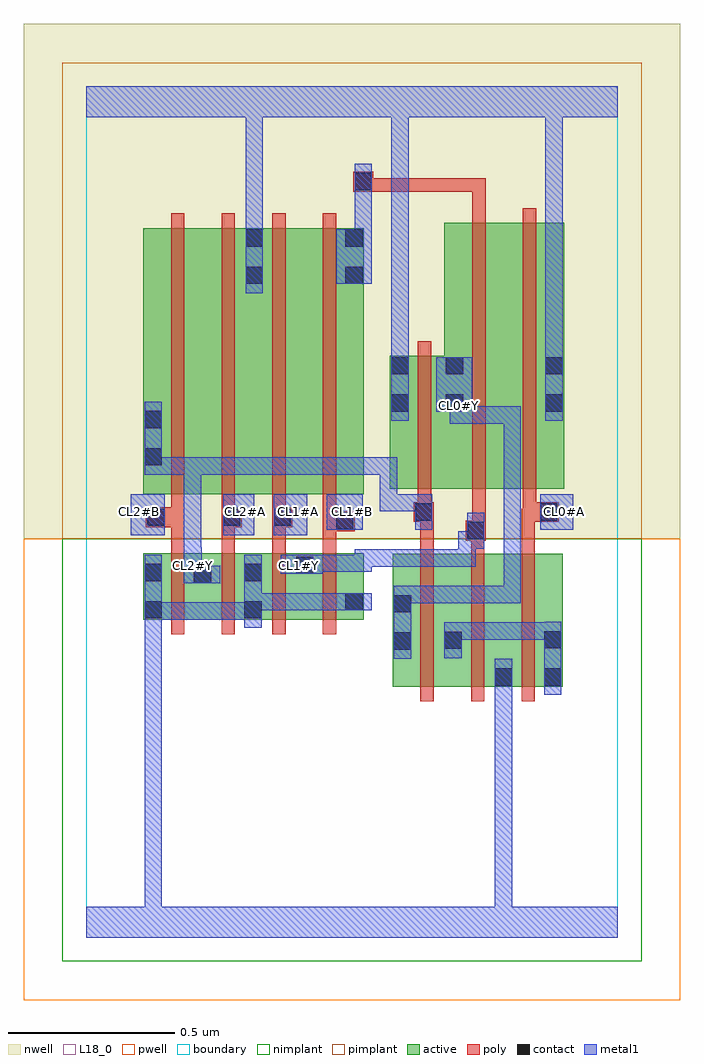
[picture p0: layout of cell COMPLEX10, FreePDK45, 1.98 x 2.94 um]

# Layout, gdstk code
import gdstk
lib = gdstk.Library(unit=1e-6, precision=1e-09)
def R(c, l, rs):  # rectangles x0, y0, x1, y1
    for r in rs: c.add(gdstk.rectangle(r[:2], r[2:], *l))
def A(c, l, x, y, w, h, nx, ny, dx, dy):  # array of equal rectangles
    R(c, l, [(x+i*dx, y+j*dy, x+i*dx+w, y+j*dy+h) for i in range(nx) for j in range(ny)])
active = (1, 0)
pwell = (2, 0)
nwell = (3, 0)
nimplant = (4, 0)
pimplant = (5, 0)
poly = (9, 0)
contact = (10, 0)
metal1 = (11, 0)
L18_0 = (18, 0)
boundary = (235, 0)

complex10 = lib.new_cell('COMPLEX10')
R(complex10, active, [(0.922,0.754,1.134,1.154), (1.074,0.754,1.286,1.154), (1.074,0.754,1.134,0.928), (1.226,0.754,1.434,1.154), (1.226,0.754,1.286,0.922), (1.374,0.754,1.434,1.154), (0.922,0.756,0.982,1.154), (0.172,0.956,0.232,1.156), (0.172,0.956,0.38,1.156), (0.32,0.956,0.532,1.156), (0.32,0.956,0.38,1.122), (0.472,0.956,0.532,1.156), (0.472,0.956,0.688,1.156), (0.628,0.956,0.836,1.156), (0.628,0.956,0.688,1.15), (0.776,0.956,0.836,1.156), (0.172,1.334,0.352,2.134), (0.172,1.334,0.232,2.044), (0.352,1.334,0.536,2.134), (0.476,1.334,0.656,2.134), (0.656,1.334,0.836,2.134), (0.776,1.334,0.836,2.134), (0.914,1.35,0.974,1.75), (0.914,1.35,1.138,1.75), (1.078,1.35,1.258,2.15), (1.078,1.35,1.138,1.77), (1.258,1.35,1.438,2.15), (1.378,1.35,1.438,2.15), (0.476,1.686,0.536,2.134)])
R(complex10, pwell, [(-0.188,-0.188,1.788,1.2)])
R(complex10, nwell, [(-0.188,1.2,1.788,2.748)])
R(complex10, nimplant, [(-0.072,-0.072,1.672,1.2)])
R(complex10, pimplant, [(-0.072,1.2,1.672,2.632)])
A(complex10, poly, 1.006, 0.71, 0.04, 0.488, 3, 1, 0.152, 0)
A(complex10, poly, 0.256, 0.912, 0.04, 0.288, 4, 1, 0.152, 0)
A(complex10, poly, 0.256, 1.16, 0.04, 0.114, 3, 1, 0.152, 0)
A(complex10, poly, 0.256, 1.254, 0.04, 0.076, 3, 1, 0.152, 0)
A(complex10, poly, 0.256, 1.29, 0.04, 0.888, 4, 1, 0.152, 0)
R(complex10, poly, [(1.006,1.158,1.046,1.29), (1.158,1.158,1.198,1.234), (1.31,1.158,1.35,1.29), (0.712,1.16,0.752,1.262), (1.142,1.194,1.202,1.254), (1.162,1.214,1.202,1.254), (1.162,1.214,1.202,1.254), (1.162,1.214,1.202,1.346), (0.712,1.222,0.752,1.262), (0.712,1.222,0.752,1.262), (0.712,1.222,0.808,1.282), (0.18,1.234,0.296,1.294), (0.408,1.234,0.468,1.294), (0.56,1.234,0.6,1.274), (0.56,1.234,0.6,1.274), (0.56,1.234,0.62,1.294), (0.712,1.242,0.752,1.33), (0.986,1.25,1.046,1.31), (1.006,1.25,1.046,1.29), (1.006,1.25,1.046,1.29), (1.31,1.25,1.354,1.29), (1.314,1.25,1.354,1.29), (1.314,1.25,1.422,1.31), (0.256,1.254,0.296,1.294), (0.256,1.254,0.296,1.294), (0.408,1.254,0.448,1.294), (0.408,1.254,0.448,1.294), (0.998,1.27,1.038,1.346), (1.314,1.27,1.354,1.346), (0.998,1.306,1.038,1.794), (1.162,1.306,1.202,2.194), (1.314,1.306,1.354,2.194), (1.162,2.154,1.202,2.284), (0.804,2.244,0.864,2.304), (0.824,2.244,0.864,2.284), (0.824,2.244,0.864,2.284), (0.824,2.244,0.97,2.284), (0.93,2.244,0.97,2.284), (0.93,2.244,0.97,2.284), (0.93,2.244,0.97,2.284), (0.93,2.244,1.202,2.284), (1.162,2.244,1.202,2.284), (1.162,2.244,1.202,2.284), (1.162,2.244,1.202,2.284)])
R(complex10, contact, [(1.23,0.758,1.282,0.81), (1.378,0.758,1.43,0.81), (0.926,0.866,0.978,0.918), (1.078,0.868,1.13,0.92), (1.378,0.87,1.43,0.922), (0.176,0.96,0.228,1.012), (0.476,0.96,0.528,1.012), (0.926,0.978,0.978,1.03), (0.78,0.984,0.832,1.036), (0.324,1.066,0.376,1.118), (0.176,1.072,0.228,1.124), (0.476,1.072,0.528,1.124), (0.632,1.094,0.684,1.146), (1.146,1.198,1.198,1.25), (0.752,1.226,0.804,1.278), (0.184,1.238,0.236,1.29), (0.412,1.238,0.464,1.29), (0.564,1.238,0.616,1.29), (0.99,1.254,1.042,1.306), (1.366,1.254,1.418,1.306), (0.176,1.42,0.228,1.472), (0.176,1.532,0.228,1.584), (0.918,1.582,0.97,1.634), (1.082,1.582,1.134,1.634), (1.382,1.582,1.434,1.634), (0.918,1.694,0.97,1.746), (1.082,1.694,1.134,1.746), (1.382,1.694,1.434,1.746), (0.48,1.966,0.532,2.018), (0.78,1.966,0.832,2.018), (0.48,2.078,0.532,2.13), (0.78,2.078,0.832,2.13), (0.808,2.248,0.86,2.3)])
R(complex10, metal1, [(0,0,1.6,0.092), (0.176,0.04,0.228,0.092), (0.176,0.04,0.228,0.092), (0.176,0.04,0.228,0.092), (0.176,0.04,0.228,0.092), (0.176,0.04,0.228,0.092), (0.176,0.04,0.228,0.092), (0.176,0.04,0.228,0.092), (0.176,0.04,0.228,0.092), (0.176,0.04,0.228,0.092), (0.176,0.04,0.228,0.092), (0.176,0.04,0.228,0.092), (0.176,0.04,0.228,0.092), (0.176,0.04,0.228,0.092), (0.176,0.04,0.228,0.092), (0.176,0.04,0.228,0.092), (0.176,0.04,0.228,0.092), (0.176,0.04,0.228,0.984), (1.23,0.04,1.282,0.092), (1.23,0.04,1.282,0.092), (1.23,0.04,1.282,0.092), (1.23,0.04,1.282,0.092), (1.23,0.04,1.282,0.092), (1.23,0.04,1.282,0.092), (1.23,0.04,1.282,0.092), (1.23,0.04,1.282,0.092), (1.23,0.04,1.282,0.092), (1.23,0.04,1.282,0.092), (1.23,0.04,1.282,0.092), (1.23,0.04,1.282,0.092), (1.23,0.04,1.282,0.782), (1.23,0.73,1.282,0.838), (1.378,0.73,1.43,0.95), (0.926,0.838,0.978,1.058), (1.078,0.84,1.13,0.948), (1.078,0.896,1.282,0.948), (1.23,0.896,1.282,0.948), (1.23,0.896,1.282,0.948), (1.23,0.896,1.282,0.948), (1.23,0.896,1.43,0.948), (1.378,0.896,1.43,0.948), (1.378,0.896,1.43,0.948), (0.176,0.932,0.228,1.152), (0.476,0.932,0.528,1.152), (0.176,0.956,0.228,1.008), (0.176,0.956,0.228,1.008), (0.176,0.956,0.418,1.008), (0.366,0.956,0.418,1.008), (0.366,0.956,0.418,1.008), (0.366,0.956,0.418,1.008), (0.366,0.956,0.528,1.008), (0.476,0.984,0.638,1.036), (0.586,0.984,0.638,1.036), (0.586,0.984,0.638,1.036), (0.586,0.984,0.638,1.036), (0.586,0.984,0.804,1.036), (0.752,0.984,0.804,1.036), (0.752,0.984,0.804,1.036), (0.752,0.984,0.86,1.036), (0.926,1.006,1.088,1.058), (1.036,1.006,1.088,1.058), (1.036,1.006,1.088,1.058), (1.036,1.006,1.088,1.058), (1.036,1.006,1.308,1.058), (1.256,1.006,1.308,1.058), (1.256,1.006,1.308,1.058), (1.256,1.006,1.308,1.058), (1.256,1.006,1.308,1.058), (1.256,1.006,1.308,1.058), (1.256,1.006,1.308,1.598), (0.294,1.066,0.348,1.174), (0.296,1.066,0.348,1.118), (0.296,1.066,0.404,1.118), (0.586,1.094,0.694,1.152), (0.604,1.094,0.712,1.146), (0.614,1.094,0.666,1.146), (0.642,1.1,0.86,1.152), (0.808,1.1,0.86,1.152), (0.808,1.1,0.86,1.152), (0.808,1.1,0.86,1.168), (0.808,1.116,0.978,1.168), (0.926,1.116,0.978,1.168), (0.926,1.116,1.048,1.168), (0.996,1.116,1.048,1.168), (0.996,1.116,1.172,1.168), (1.12,1.116,1.172,1.222), (0.294,1.122,0.346,1.174), (0.294,1.122,0.346,1.174), (0.294,1.122,0.346,1.444), (1.12,1.17,1.198,1.222), (1.146,1.17,1.198,1.278), (0.134,1.21,0.236,1.334), (0.412,1.21,0.506,1.334), (0.564,1.21,0.666,1.334), (0.724,1.226,0.832,1.334), (0.99,1.226,1.042,1.334), (1.366,1.226,1.466,1.334), (0.884,1.282,0.936,1.334), (0.884,1.282,0.978,1.334), (0.884,1.282,0.936,1.444), (0.926,1.282,0.978,1.334), (0.926,1.282,1.042,1.334), (0.176,1.392,0.228,1.444), (0.176,1.392,0.228,1.444), (0.176,1.392,0.228,1.612), (0.176,1.392,0.346,1.444), (0.294,1.392,0.346,1.444), (0.294,1.392,0.346,1.444), (0.294,1.392,0.346,1.444), (0.294,1.392,0.528,1.444), (0.476,1.392,0.528,1.444), (0.476,1.392,0.528,1.444), (0.476,1.392,0.528,1.444), (0.476,1.392,0.694,1.444), (0.642,1.392,0.694,1.444), (0.642,1.392,0.748,1.444), (0.696,1.392,0.748,1.444), (0.696,1.392,0.936,1.444), (0.884,1.392,0.936,1.444), (1.094,1.546,1.146,1.654), (1.094,1.546,1.308,1.598), (1.256,1.546,1.308,1.598), (1.256,1.546,1.308,1.598), (1.256,1.546,1.308,1.598), (0.918,1.554,0.97,1.774), (1.382,1.554,1.434,1.774), (1.054,1.582,1.162,1.746), (1.094,1.582,1.146,1.634), (0.918,1.722,0.97,1.774), (0.918,1.722,0.97,1.774), (0.918,1.722,0.97,1.774), (0.918,1.722,0.97,1.774), (0.918,1.722,0.97,1.774), (0.918,1.722,0.97,1.774), (0.918,1.722,0.97,2.52), (1.382,1.722,1.434,2.52), (0.48,1.938,0.532,2.158), (0.752,1.966,0.86,2.13), (0.808,2.078,0.86,2.272), (0.48,2.106,0.532,2.158), (0.48,2.106,0.532,2.158), (0.48,2.106,0.532,2.158), (0.48,2.106,0.532,2.158), (0.48,2.106,0.532,2.158), (0.48,2.106,0.532,2.158), (0.48,2.106,0.532,2.52), (0.808,2.22,0.86,2.272), (0.808,2.22,0.86,2.272), (0.808,2.22,0.86,2.328), (0,2.468,1.6,2.56), (0.48,2.468,0.532,2.52), (0.48,2.468,0.532,2.52), (0.918,2.468,0.97,2.52), (0.918,2.468,0.97,2.52), (0.918,2.468,0.97,2.52), (0.918,2.468,0.97,2.52), (0.918,2.468,0.97,2.52), (0.918,2.468,0.97,2.52), (0.918,2.468,0.97,2.52), (0.918,2.468,0.97,2.52), (0.918,2.468,0.97,2.52), (0.918,2.468,0.97,2.52), (1.382,2.468,1.434,2.52), (1.382,2.468,1.434,2.52), (1.382,2.468,1.434,2.52), (1.382,2.468,1.434,2.52), (1.382,2.468,1.434,2.52), (1.382,2.468,1.434,2.52), (1.382,2.468,1.434,2.52), (1.382,2.468,1.434,2.52)])
A(complex10, L18_0, 0.454, 1.254, 0.052, 0.052, 3, 1, 0.16, 0)
R(complex10, L18_0, [(0,0,1.6,0.092), (0.176,0.04,0.228,0.092), (0.176,0.04,0.228,0.092), (0.176,0.04,0.228,0.092), (0.176,0.04,0.228,0.092), (0.176,0.04,0.228,0.092), (0.176,0.04,0.228,0.092), (0.176,0.04,0.228,0.092), (0.176,0.04,0.228,0.092), (0.176,0.04,0.228,0.092), (0.176,0.04,0.228,0.092), (0.176,0.04,0.228,0.092), (0.176,0.04,0.228,0.092), (0.176,0.04,0.228,0.092), (0.176,0.04,0.228,0.092), (0.176,0.04,0.228,0.092), (0.176,0.04,0.228,0.092), (0.176,0.04,0.228,0.984), (1.23,0.04,1.282,0.092), (1.23,0.04,1.282,0.092), (1.23,0.04,1.282,0.092), (1.23,0.04,1.282,0.092), (1.23,0.04,1.282,0.092), (1.23,0.04,1.282,0.092), (1.23,0.04,1.282,0.092), (1.23,0.04,1.282,0.092), (1.23,0.04,1.282,0.092), (1.23,0.04,1.282,0.092), (1.23,0.04,1.282,0.092), (1.23,0.04,1.282,0.092), (1.23,0.04,1.282,0.782), (1.23,0.73,1.282,0.838), (0.926,0.838,0.978,1.058), (0.176,0.932,0.228,1.152), (0.476,0.932,0.528,1.152), (0.176,0.956,0.228,1.008), (0.176,0.956,0.228,1.008), (0.176,0.956,0.418,1.008), (0.366,0.956,0.418,1.008), (0.366,0.956,0.418,1.008), (0.366,0.956,0.418,1.008), (0.366,0.956,0.528,1.008), (0.476,0.984,0.638,1.036), (0.586,0.984,0.638,1.036), (0.586,0.984,0.638,1.036), (0.586,0.984,0.638,1.036), (0.586,0.984,0.804,1.036), (0.752,0.984,0.804,1.036), (0.752,0.984,0.804,1.036), (0.752,0.984,0.86,1.036), (0.926,1.006,1.088,1.058), (1.036,1.006,1.088,1.058), (1.036,1.006,1.088,1.058), (1.036,1.006,1.088,1.058), (1.036,1.006,1.308,1.058), (1.256,1.006,1.308,1.058), (1.256,1.006,1.308,1.058), (1.256,1.006,1.308,1.058), (1.256,1.006,1.308,1.058), (1.256,1.006,1.308,1.058), (1.256,1.006,1.308,1.598), (0.294,1.066,0.348,1.174), (0.296,1.066,0.348,1.118), (0.296,1.066,0.404,1.118), (0.294,1.094,0.346,1.146), (0.586,1.094,0.694,1.152), (0.604,1.094,0.712,1.146), (0.614,1.094,0.666,1.146), (0.614,1.094,0.666,1.146), (0.642,1.1,0.86,1.152), (0.808,1.1,0.86,1.152), (0.808,1.1,0.86,1.152), (0.808,1.1,0.86,1.168), (0.808,1.116,0.978,1.168), (0.926,1.116,0.978,1.168), (0.926,1.116,1.048,1.168), (0.996,1.116,1.048,1.168), (0.996,1.116,1.172,1.168), (1.12,1.116,1.172,1.222), (0.294,1.122,0.346,1.174), (0.294,1.122,0.346,1.174), (0.294,1.122,0.346,1.444), (1.12,1.17,1.198,1.222), (1.146,1.17,1.198,1.278), (0.134,1.21,0.236,1.334), (0.412,1.21,0.506,1.334), (0.564,1.21,0.666,1.334), (0.724,1.226,0.832,1.334), (0.99,1.226,1.042,1.334), (1.366,1.226,1.466,1.334), (0.134,1.254,0.186,1.306), (1.414,1.254,1.466,1.306), (0.884,1.282,0.936,1.334), (0.884,1.282,0.936,1.444), (0.884,1.282,0.978,1.334), (0.926,1.282,0.978,1.334), (0.926,1.282,1.042,1.334), (0.176,1.392,0.228,1.444), (0.176,1.392,0.228,1.444), (0.176,1.392,0.228,1.612), (0.176,1.392,0.346,1.444), (0.294,1.392,0.346,1.444), (0.294,1.392,0.346,1.444), (0.294,1.392,0.346,1.444), (0.294,1.392,0.528,1.444), (0.476,1.392,0.528,1.444), (0.476,1.392,0.528,1.444), (0.476,1.392,0.528,1.444), (0.476,1.392,0.694,1.444), (0.642,1.392,0.694,1.444), (0.642,1.392,0.748,1.444), (0.696,1.392,0.748,1.444), (0.696,1.392,0.936,1.444), (0.884,1.392,0.936,1.444), (1.094,1.546,1.146,1.654), (1.094,1.546,1.308,1.598), (1.256,1.546,1.308,1.598), (1.256,1.546,1.308,1.598), (1.256,1.546,1.308,1.598), (0.918,1.554,0.97,1.774), (1.382,1.554,1.434,1.774), (1.094,1.574,1.146,1.626), (1.054,1.582,1.162,1.746), (1.094,1.582,1.146,1.634), (0.918,1.722,0.97,1.774), (0.918,1.722,0.97,1.774), (0.918,1.722,0.97,1.774), (0.918,1.722,0.97,1.774), (0.918,1.722,0.97,1.774), (0.918,1.722,0.97,1.774), (0.918,1.722,0.97,2.52), (1.382,1.722,1.434,2.52), (0.48,1.938,0.532,2.158), (0.752,1.966,0.86,2.13), (0.808,2.078,0.86,2.272), (0.48,2.106,0.532,2.158), (0.48,2.106,0.532,2.158), (0.48,2.106,0.532,2.158), (0.48,2.106,0.532,2.158), (0.48,2.106,0.532,2.158), (0.48,2.106,0.532,2.158), (0.48,2.106,0.532,2.52), (0.808,2.22,0.86,2.272), (0.808,2.22,0.86,2.272), (0.808,2.22,0.86,2.328), (0,2.468,1.6,2.56), (0.48,2.468,0.532,2.52), (0.48,2.468,0.532,2.52), (0.918,2.468,0.97,2.52), (0.918,2.468,0.97,2.52), (0.918,2.468,0.97,2.52), (0.918,2.468,0.97,2.52), (0.918,2.468,0.97,2.52), (0.918,2.468,0.97,2.52), (0.918,2.468,0.97,2.52), (0.918,2.468,0.97,2.52), (0.918,2.468,0.97,2.52), (0.918,2.468,0.97,2.52), (1.382,2.468,1.434,2.52), (1.382,2.468,1.434,2.52), (1.382,2.468,1.434,2.52), (1.382,2.468,1.434,2.52), (1.382,2.468,1.434,2.52), (1.382,2.468,1.434,2.52), (1.382,2.468,1.434,2.52), (1.382,2.468,1.434,2.52)])
R(complex10, boundary, [(0,0,1.6,2.56)])
complex10.add(gdstk.Label('CL0#A', (1.44,1.28), layer=11, texttype=0))
complex10.add(gdstk.Label('CL0#Y', (1.12,1.6), layer=11, texttype=0))
complex10.add(gdstk.Label('CL1#A', (0.64,1.28), layer=11, texttype=0))
complex10.add(gdstk.Label('CL1#B', (0.8,1.28), layer=11, texttype=0))
complex10.add(gdstk.Label('CL1#Y', (0.64,1.12), layer=11, texttype=0))
complex10.add(gdstk.Label('CL2#A', (0.48,1.28), layer=11, texttype=0))
complex10.add(gdstk.Label('CL2#B', (0.16,1.28), layer=11, texttype=0))
complex10.add(gdstk.Label('CL2#Y', (0.32,1.12), layer=11, texttype=0))

lib.write_gds('COMPLEX10.gds')
